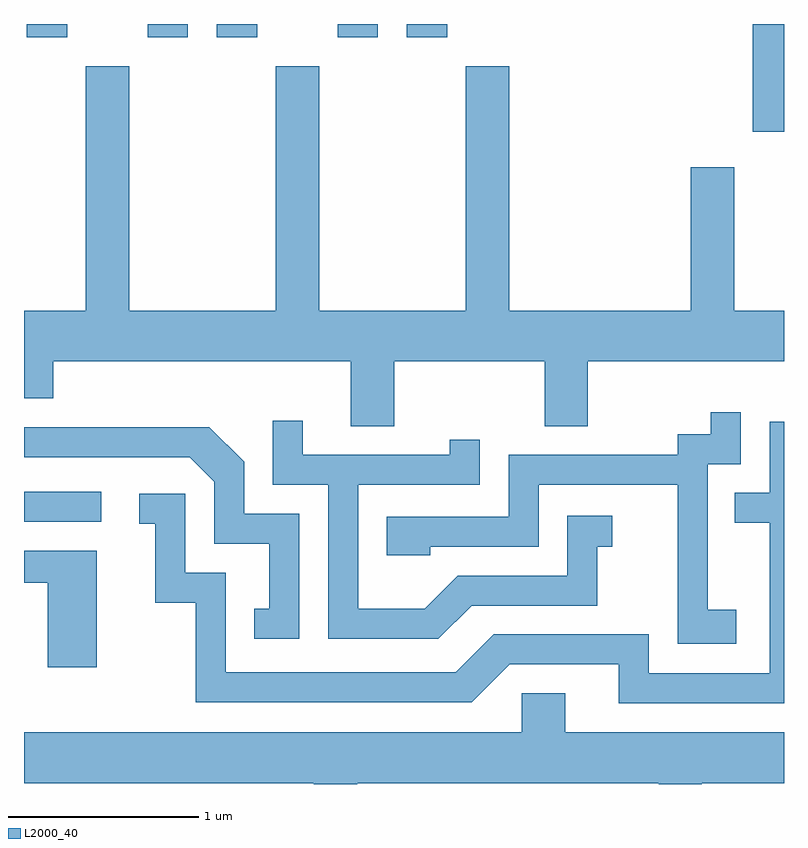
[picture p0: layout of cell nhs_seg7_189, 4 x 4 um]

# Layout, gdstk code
import gdstk
lib = gdstk.Library(unit=1e-6, precision=1e-09)
def R(c, l, rs):  # rectangles x0, y0, x1, y1
    for r in rs: c.add(gdstk.rectangle(r[:2], r[2:], *l))
def P(c, l, *ps):  # polygons
    for p in ps: c.add(gdstk.Polygon(p, *l))
L2000_40 = (2000, 40)

nhs_seg7_189 = lib.new_cell('nhs_seg7_189')
R(nhs_seg7_189, L2000_40, [(189.611,1775.631,190.018,1775.789), (193.446,1777.686,193.611,1778.252), (189.626,1778.181,189.839,1778.252), (190.261,1778.181,190.474,1778.252), (190.626,1778.181,190.839,1778.252), (191.261,1778.181,191.474,1778.252), (191.626,1778.181,191.839,1778.252)])
P(nhs_seg7_189, L2000_40, [(191.559,1776.476),(192.351,1776.476),(192.351,1776.136),(192.579,1776.136),(192.579,1776.476),(193.611,1776.476),(193.611,1776.744),(193.349,1776.744),(193.349,1777.499),(193.121,1777.499),(193.121,1776.744),(192.164,1776.744),(192.164,1778.029),(191.936,1778.029),(191.936,1776.744),(191.164,1776.744),(191.164,1778.029),(190.936,1778.029),(190.936,1776.744),(190.164,1776.744),(190.164,1778.029),(189.936,1778.029),(189.936,1776.744),(189.611,1776.744),(189.611,1776.281),(189.764,1776.281),(189.764,1776.476),(191.331,1776.476),(191.331,1776.136),(191.559,1776.136)],
  [(193.359,1775.169),(193.209,1775.169),(193.209,1775.936),(193.384,1775.936),(193.384,1776.208),(193.226,1776.208),(193.226,1776.094),(193.051,1776.094),(193.051,1775.984),(192.161,1775.984),(192.161,1775.659),(191.521,1775.659),(191.521,1775.456),(191.749,1775.456),(191.749,1775.501),(192.319,1775.501),(192.319,1775.826),(193.051,1775.826),(193.051,1774.991),(193.359,1774.991)],
  [(191.967,1775.191),(192.629,1775.191),(192.629,1775.501),(192.708,1775.501),(192.708,1775.664),(192.471,1775.664),(192.471,1775.349),(191.894,1775.349),(191.719,1775.174),(191.369,1775.174),(191.369,1775.826),(192.009,1775.826),(192.009,1776.063),(191.851,1776.063),(191.851,1775.984),(191.079,1775.984),(191.079,1776.163),(190.921,1776.163),(190.921,1775.826),(191.211,1775.826),(191.211,1775.016),(191.792,1775.016)],
  [(193.611,1776.159),(193.536,1776.159),(193.536,1775.784),(193.353,1775.784),(193.353,1775.626),(193.536,1775.626),(193.536,1774.834),(192.899,1774.834),(192.899,1775.039),(192.084,1775.039),(191.884,1774.839),(190.674,1774.839),(190.674,1775.364),(190.459,1775.364),(190.459,1775.779),(190.218,1775.779),(190.218,1775.621),(190.301,1775.621),(190.301,1775.206),(190.516,1775.206),(190.516,1774.681),(191.967,1774.681),(192.167,1774.881),(192.741,1774.881),(192.741,1774.676),(193.611,1774.676)],
  [(191.059,1775.674),(190.769,1775.674),(190.769,1775.947),(190.587,1776.129),(189.611,1776.129),(189.611,1775.971),(190.484,1775.971),(190.611,1775.844),(190.611,1775.516),(190.901,1775.516),(190.901,1775.174),(190.823,1775.174),(190.823,1775.016),(191.059,1775.016)],
  [(189.994,1775.479),(189.611,1775.479),(189.611,1775.311),(189.736,1775.311),(189.736,1774.866),(189.994,1774.866)],
  [(191.364,1774.256),(192.951,1774.256),(192.951,1774.252),(193.179,1774.252),(193.179,1774.256),(193.611,1774.256),(193.611,1774.524),(192.459,1774.524),(192.459,1774.729),(192.231,1774.729),(192.231,1774.524),(189.611,1774.524),(189.611,1774.256),(191.136,1774.256),(191.136,1774.252),(191.364,1774.252)])

lib.write_gds('nhs_seg7_189.gds')
